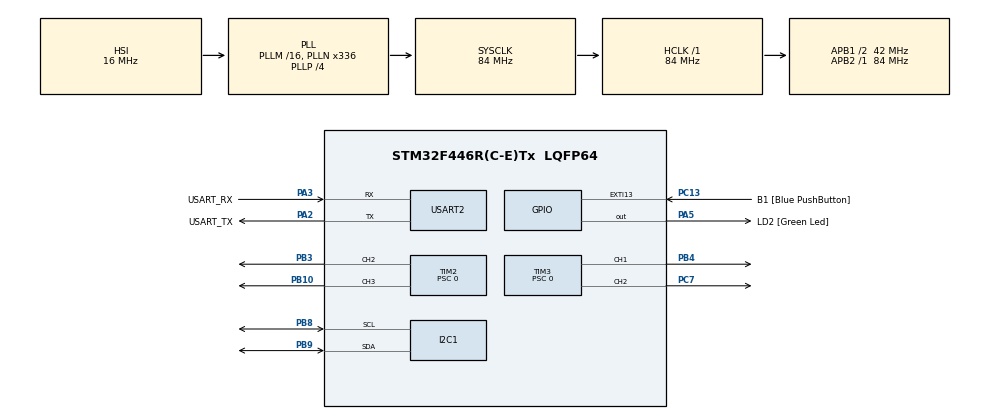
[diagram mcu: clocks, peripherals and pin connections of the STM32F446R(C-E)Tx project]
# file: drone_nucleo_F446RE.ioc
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Mcu.Family=STM32F4
Mcu.Name=STM32F446R(C-E)Tx
Mcu.Package=LQFP64
NVIC.EXTI15_10_IRQn=true\:0\:0\:false\:false\:true\:true\:true\:true
NVIC.PriorityGroup=NVIC_PRIORITYGROUP_0
PA13.GPIO_Label=TMS
PA13.Mode=Serial_Wire
PA13.Signal=SYS_JTMS-SWDIO
PA14.GPIO_Label=TCK
PA14.Mode=Serial_Wire
PA14.Signal=SYS_JTCK-SWCLK
PA2.GPIO_Label=USART_TX
PA2.Mode=Asynchronous
PA2.Signal=USART2_TX
PA3.GPIO_Label=USART_RX
PA3.Mode=Asynchronous
PA3.Signal=USART2_RX
PA5.GPIO_Label=LD2 [Green Led]
PA5.Signal=GPIO_Output
PB10.Signal=S_TIM2_CH3
PB3.Signal=S_TIM2_CH2
PB4.Signal=S_TIM3_CH1
PB8.Mode=I2C
PB8.Signal=I2C1_SCL
PB9.Mode=I2C
PB9.Signal=I2C1_SDA
PC13.GPIO_Label=B1 [Blue PushButton]
PC13.GPIO_ModeDefaultEXTI=GPIO_MODE_IT_FALLING
PC13.Signal=GPXTI13
PC14-OSC32_IN.Mode=LSE-External-Oscillator
PC14-OSC32_IN.Signal=RCC_OSC32_IN
PC15-OSC32_OUT.Mode=LSE-External-Oscillator
PC15-OSC32_OUT.Signal=RCC_OSC32_OUT
PC7.Signal=S_TIM3_CH2
PH0-OSC_IN.Mode=HSE-External-Oscillator
PH0-OSC_IN.Signal=RCC_OSC_IN
PH1-OSC_OUT.Mode=HSE-External-Oscillator
PH1-OSC_OUT.Signal=RCC_OSC_OUT
ProjectManager.HeapSize=0x200
ProjectManager.StackSize=0x400
ProjectManager.TargetToolchain=STM32CubeIDE
RCC.48MHZClocksFreq_Value=84000000
RCC.AHBFreq_Value=84000000
RCC.APB1CLKDivider=RCC_HCLK_DIV2
RCC.APB1Freq_Value=42000000
RCC.APB1TimFreq_Value=84000000
RCC.APB2Freq_Value=84000000
RCC.APB2TimFreq_Value=84000000
RCC.CortexFreq_Value=84000000
RCC.FLatency-AdvancedSettings=FLASH_LATENCY_2
RCC.HCLKFreq_Value=84000000
RCC.HSE_VALUE=8000000
RCC.HSI_VALUE=16000000
RCC.PLLN=336
RCC.PLLP=RCC_PLLP_DIV4
RCC.SYSCLKFreq_VALUE=84000000
RCC.SYSCLKSource=RCC_SYSCLKSOURCE_PLLCLK
RCC.USBFreq_Value=168000000
RCC.VCOOutputFreq_Value=336000000
SH.S_TIM2_CH2.0=TIM2_CH2,PWM Generation2 CH2
SH.S_TIM2_CH3.0=TIM2_CH3,PWM Generation3 CH3
SH.S_TIM3_CH1.0=TIM3_CH1,PWM Generation1 CH1
SH.S_TIM3_CH2.0=TIM3_CH2,PWM Generation2 CH2
TIM2.Channel-PWM\ Generation2\ CH2=TIM_CHANNEL_2
TIM2.Channel-PWM\ Generation3\ CH3=TIM_CHANNEL_3
TIM2.Period=4199
TIM2.Prescaler=0
TIM2.Pulse-PWM\ Generation2\ CH2=0
TIM3.Channel-PWM\ Generation1\ CH1=TIM_CHANNEL_1
TIM3.Channel-PWM\ Generation2\ CH2=TIM_CHANNEL_2
TIM3.Period=4199
TIM3.Prescaler=0
TIM3.Pulse-PWM\ Generation1\ CH1=0
USART2.VirtualMode=VM_ASYNC
board=NUCLEO-F446RE

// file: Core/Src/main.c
/* USER CODE BEGIN Header */
/**
 ******************************************************************************
 * @file           : main.c
 * @brief          : Main program body
 ******************************************************************************
 * @attention
 *
 * Copyright (c) 2025 STMicroelectronics.
 * All rights reserved.
 *
 * This software is licensed under terms that can be found in the LICENSE file
 * in the root directory of this software component.
 * If no LICENSE file comes with this software, it is provided AS-IS.
 *
 ******************************************************************************
 */
/* USER CODE END Header */
#include "main.h"

/* USER CODE BEGIN Includes */
#include <string.h>
#include <math.h>
#include "mpu6050.h"
#include <stdio.h>
#include "drone_control.h"

/* USER CODE END Includes */

/* USER CODE BEGIN PD */
#define MIN_PWM        1000
#define MAX_PWM        2000
#define PID_KP_PITCH   0.7f
#define PID_KI_PITCH   0.02f
#define PID_KD_PITCH   0.01f

#define PID_KP_ROLL    0.7f
#define PID_KI_ROLL    0.02f
#define PID_KD_ROLL    0.01f

#define PID_KP_YAW     0.7f
#define PID_KI_YAW     0.02f
#define PID_KD_YAW     0.01f

#define BASE_THROTTLE  1200.0f
#define MAX_I2C_RETRIES 3
#define LOW_BATT_THRESHOLD 3.5f
/* USER CODE END PD */

I2C_HandleTypeDef hi2c1;

TIM_HandleTypeDef htim2;
TIM_HandleTypeDef htim3;

UART_HandleTypeDef huart2;

/* USER CODE BEGIN PV */
volatile uint32_t PWM_D9 = 0;
volatile uint32_t PWM_D6 = 0;
volatile uint32_t PWM_D5 = 0;
volatile uint32_t PWM_D3 = 0;

volatile uint32_t PWM_D9_Target = 0;
volatile uint32_t PWM_D6_Target = 0;
volatile uint32_t PWM_D5_Target = 0;
volatile uint32_t PWM_D3_Target = 0;

MPU6050_Data_t imu_data;
MPU6050_Physical_t imu_phys;
MPU6050_Physical_t imu_filt;
MPU6050_Physical_t imu_avg;
MPU6050_Physical_t imu_bias;
MPU6050_Physical_t imu_window[IMU_WINDOW_SIZE];
MPU6050_Physical_t imu_sum;
uint8_t imu_index = 0;
uint8_t imu_count = 0;

volatile uint8_t control_enabled = 0;
volatile ControlState control_state = CONTROL_DISARMED;
volatile uint8_t button_pressed = 0;
uint32_t button_press_time = 0;
float target_pitch = 0.0f;
float target_roll  = 0.0f;
float target_yaw   = 0.0f;
float throttle_base = BASE_THROTTLE;
volatile float throttle_override = -1.0f; /* Allows throttle override via debugger */
PID_t pid_pitch = { PID_KP_PITCH, PID_KI_PITCH, PID_KD_PITCH, 0.0f, 0.0f };
PID_t pid_roll  = { PID_KP_ROLL,  PID_KI_ROLL,  PID_KD_ROLL,  0.0f, 0.0f };
PID_t pid_yaw   = { PID_KP_YAW,   PID_KI_YAW,   PID_KD_YAW,   0.0f, 0.0f };
uint32_t last_pid_time = 0;
uint8_t i2c_retry_count = 0;
uint32_t last_update = 0;

/* USER CODE END PV */

void SystemClock_Config(void);
static void MX_GPIO_Init(void);
static void MX_USART2_UART_Init(void);
static void MX_TIM2_Init(void);
static void MX_TIM3_Init(void);
static void MX_I2C1_Init(void);
/* USER CODE BEGIN PFP */

void UpdatePWM(void);
void Debug_Send(const char *msg);
void IMU_UpdateAverage(const MPU6050_Physical_t *sample);
void HAL_GPIO_EXTI_Callback(uint16_t GPIO_Pin);
void IMU_Filter(const MPU6050_Physical_t *in, MPU6050_Physical_t *out);
void CalibrateIMU(I2C_HandleTypeDef *hi2c,
		MPU6050_Physical_t *sum,
		MPU6050_Physical_t window[],
		uint8_t *idx,
		uint8_t *count);
float ReadBatteryVoltage(void);

/* USER CODE END PFP */

/* USER CODE BEGIN 0 */
/* Functions implemented in drone_control.c */
/* USER CODE END 0 */

int main(void)
{

	/* MCU Configuration--------------------------------------------------------*/

	/* Reset of all peripherals, Initializes the Flash interface and the Systick. */
	HAL_Init();

	/* Configure the system clock */
	SystemClock_Config();

	/* Initialize all configured peripherals */
	MX_GPIO_Init();
	MX_USART2_UART_Init();
	MX_TIM2_Init();
	MX_TIM3_Init();
	MX_I2C1_Init();
	/* USER CODE BEGIN 2 */

	HAL_TIM_PWM_Start(&htim2, TIM_CHANNEL_2);
	HAL_TIM_PWM_Start(&htim2, TIM_CHANNEL_3);
	HAL_TIM_PWM_Start(&htim3, TIM_CHANNEL_1);
	HAL_TIM_PWM_Start(&htim3, TIM_CHANNEL_2);
	Debug_Send("System Init Complete\r\n");
	MPU6050_Init(&hi2c1);
	Debug_Send("Calibrating IMU...\r\n");
	CalibrateIMU(&hi2c1, &imu_sum, imu_window, &imu_index, &imu_count);
	imu_bias = imu_avg;
	Debug_Send("Calibration done.\r\n");

	/* USER CODE END 2 */

	/* Infinite loop */
	/* USER CODE BEGIN WHILE */
	uint32_t lastBlink = 0;
	last_pid_time = HAL_GetTick();
	while (1)
	{
		/* USER CODE END WHILE */

		/* USER CODE BEGIN 3 */
		uint32_t now = HAL_GetTick();

		// Toggle LED every 500 ms without blocking
		if (now - lastBlink >= 500)
		{
			HAL_GPIO_TogglePin(LD2_GPIO_Port, LD2_Pin);
			lastBlink = now;
		}

		if (button_pressed && HAL_GPIO_ReadPin(B1_GPIO_Port, B1_Pin) == GPIO_PIN_SET)
		{
			uint32_t duration = now - button_press_time;
			button_pressed = 0;
			if (duration >= BUTTON_LONG_PRESS_MS)
			{
				Debug_Send("Calibration\r\n");
				pid_pitch.integral = 0.0f;
				pid_roll.integral  = 0.0f;
				pid_yaw.integral   = 0.0f;
				pid_pitch.last_err = 0.0f;
				pid_roll.last_err  = 0.0f;
				pid_yaw.last_err   = 0.0f;
				control_state = CONTROL_DISARMED;
			}
			else if (duration >= BUTTON_DEBOUNCE_MS)
			{
				if (control_state == CONTROL_ARMED)
				{
					control_state = CONTROL_DISARMED;
					Debug_Send("Disarmed\r\n");
				}
				else
				{
					control_state = CONTROL_ARMED;
					Debug_Send("Armed\r\n");
				}
			}
		}
		control_enabled = (control_state == CONTROL_ARMED);

		if (now - last_update >= 10)
		{
			last_update = now;

			if (MPU6050_ReadAll(&hi2c1, &imu_data) != HAL_OK || HAL_I2C_GetError(&hi2c1) != HAL_I2C_ERROR_NONE)
			{
				char buf[40];
				snprintf(buf, sizeof(buf), "I2C error:%lu\r\n", HAL_I2C_GetError(&hi2c1));
				Debug_Send(buf);
				PWM_D9_Target = 0;
				PWM_D6_Target = 0;
				PWM_D5_Target = 0;
				PWM_D3_Target = 0;
				UpdatePWM();
				I2C_ResetBus();
				if (++i2c_retry_count > MAX_I2C_RETRIES)
				{
					Error_Handler();
				}
				continue;
			}
			else
			{
				i2c_retry_count = 0;
			}
			MPU6050_ConvertToPhysical(&imu_data, &imu_phys);
			IMU_Filter(&imu_phys, &imu_filt);
			IMU_UpdateAverage(&imu_filt);

			float pitch = atanf(imu_avg.accel_y /
					sqrtf(imu_avg.accel_x * imu_avg.accel_x +
							imu_avg.accel_z * imu_avg.accel_z)) * 180.0f / M_PI;
			float roll  = atanf(-imu_avg.accel_x / imu_avg.accel_z) * 180.0f / M_PI;

			float dt = (now - last_pid_time) / 1000.0f;
			last_pid_time = now;
			if (dt <= 0.0f) dt = 0.001f;

			float error_pitch = target_pitch - pitch;
			float output_pitch = PID_Update(&pid_pitch, error_pitch, dt);

			float error_roll  = target_roll - roll;
			float output_roll  = PID_Update(&pid_roll, error_roll, dt);

			float error_yaw      = target_yaw - (imu_phys.gyro_z * dt);
			float output_yaw     = PID_Update(&pid_yaw, error_yaw, dt);

			float throttle = throttle_base;
			if (throttle_override >= 0.0f)
			{
				throttle = throttle_override;
			}

			float m1 = throttle + output_pitch + output_roll + output_yaw;
			float m2 = throttle + output_pitch - output_roll - output_yaw;
			float m3 = throttle - output_pitch + output_roll - output_yaw;
			float m4 = throttle - output_pitch - output_roll + output_yaw;

			if (m1 > MAX_PWM) m1 = MAX_PWM; else if (m1 < MIN_PWM) m1 = MIN_PWM;
			if (m2 > MAX_PWM) m2 = MAX_PWM; else if (m2 < MIN_PWM) m2 = MIN_PWM;
			if (m3 > MAX_PWM) m3 = MAX_PWM; else if (m3 < MIN_PWM) m3 = MIN_PWM;
			if (m4 > MAX_PWM) m4 = MAX_PWM; else if (m4 < MIN_PWM) m4 = MIN_PWM;

			if (ReadBatteryVoltage() < LOW_BATT_THRESHOLD)
			{
				control_state = CONTROL_DISARMED;
				Debug_Send("Low battery, disarming\r\n");
			}

			if(control_enabled)
			{
				PWM_D9_Target = (uint32_t)m1;
				PWM_D6_Target = (uint32_t)m2;
				PWM_D5_Target = (uint32_t)m3;
				PWM_D3_Target = (uint32_t)m4;
			}
			else
			{
				PWM_D9_Target = 0;
				PWM_D6_Target = 0;
				PWM_D5_Target = 0;
				PWM_D3_Target = 0;
			}

			UpdatePWM(); // Runs every 10 ms with control loop
		}
	}
	/* USER CODE END 3 */
}

void SystemClock_Config(void)
{
	RCC_OscInitTypeDef RCC_OscInitStruct = {0};
	RCC_ClkInitTypeDef RCC_ClkInitStruct = {0};

	/** Configure the main internal regulator output voltage
	 */
	__HAL_RCC_PWR_CLK_ENABLE();
	__HAL_PWR_VOLTAGESCALING_CONFIG(PWR_REGULATOR_VOLTAGE_SCALE3);

	/** Initializes the RCC Oscillators according to the specified parameters
	 * in the RCC_OscInitTypeDef structure.
	 */
	RCC_OscInitStruct.OscillatorType = RCC_OSCILLATORTYPE_HSI;
	RCC_OscInitStruct.HSIState = RCC_HSI_ON;
	RCC_OscInitStruct.HSICalibrationValue = RCC_HSICALIBRATION_DEFAULT;
	RCC_OscInitStruct.PLL.PLLState = RCC_PLL_ON;
	RCC_OscInitStruct.PLL.PLLSource = RCC_PLLSOURCE_HSI;
	RCC_OscInitStruct.PLL.PLLM = 16;
	RCC_OscInitStruct.PLL.PLLN = 336;
	RCC_OscInitStruct.PLL.PLLP = RCC_PLLP_DIV4;
	RCC_OscInitStruct.PLL.PLLQ = 2;
	RCC_OscInitStruct.PLL.PLLR = 2;
	if (HAL_RCC_OscConfig(&RCC_OscInitStruct) != HAL_OK)
	{
		Error_Handler();
	}

	/** Initializes the CPU, AHB and APB buses clocks
	 */
	RCC_ClkInitStruct.ClockType = RCC_CLOCKTYPE_HCLK|RCC_CLOCKTYPE_SYSCLK
			|RCC_CLOCKTYPE_PCLK1|RCC_CLOCKTYPE_PCLK2;
	RCC_ClkInitStruct.SYSCLKSource = RCC_SYSCLKSOURCE_PLLCLK;
	RCC_ClkInitStruct.AHBCLKDivider = RCC_SYSCLK_DIV1;
	RCC_ClkInitStruct.APB1CLKDivider = RCC_HCLK_DIV2;
	RCC_ClkInitStruct.APB2CLKDivider = RCC_HCLK_DIV1;

	if (HAL_RCC_ClockConfig(&RCC_ClkInitStruct, FLASH_LATENCY_2) != HAL_OK)
	{
		Error_Handler();
	}
}

static void MX_I2C1_Init(void)
{

	hi2c1.Instance = I2C1;
	hi2c1.Init.ClockSpeed = 100000;
	hi2c1.Init.DutyCycle = I2C_DUTYCYCLE_2;
	hi2c1.Init.OwnAddress1 = 0;
	hi2c1.Init.AddressingMode = I2C_ADDRESSINGMODE_7BIT;
	hi2c1.Init.DualAddressMode = I2C_DUALADDRESS_DISABLE;
	hi2c1.Init.OwnAddress2 = 0;
	hi2c1.Init.GeneralCallMode = I2C_GENERALCALL_DISABLE;
	hi2c1.Init.NoStretchMode = I2C_NOSTRETCH_DISABLE;
	if (HAL_I2C_Init(&hi2c1) != HAL_OK)
	{
		Error_Handler();
	}

}

static void MX_TIM2_Init(void)
{

	TIM_MasterConfigTypeDef sMasterConfig = {0};
	TIM_OC_InitTypeDef sConfigOC = {0};

	htim2.Instance = TIM2;
	htim2.Init.Prescaler = 0;
	htim2.Init.CounterMode = TIM_COUNTERMODE_UP;
	htim2.Init.Period = 4199;
	htim2.Init.ClockDivision = TIM_CLOCKDIVISION_DIV1;
	htim2.Init.AutoReloadPreload = TIM_AUTORELOAD_PRELOAD_DISABLE;
	if (HAL_TIM_PWM_Init(&htim2) != HAL_OK)
	{
		Error_Handler();
	}
	sMasterConfig.MasterOutputTrigger = TIM_TRGO_RESET;
	sMasterConfig.MasterSlaveMode = TIM_MASTERSLAVEMODE_DISABLE;
	if (HAL_TIMEx_MasterConfigSynchronization(&htim2, &sMasterConfig) != HAL_OK)
	{
		Error_Handler();
	}
	sConfigOC.OCMode = TIM_OCMODE_PWM1;
	sConfigOC.Pulse = 0;
	sConfigOC.OCPolarity = TIM_OCPOLARITY_HIGH;
	sConfigOC.OCFastMode = TIM_OCFAST_DISABLE;
	if (HAL_TIM_PWM_ConfigChannel(&htim2, &sConfigOC, TIM_CHANNEL_2) != HAL_OK)
	{
		Error_Handler();
	}
	if (HAL_TIM_PWM_ConfigChannel(&htim2, &sConfigOC, TIM_CHANNEL_3) != HAL_OK)
	{
		Error_Handler();
	}
	HAL_TIM_MspPostInit(&htim2);

}

static void MX_TIM3_Init(void)
{

	TIM_MasterConfigTypeDef sMasterConfig = {0};
	TIM_OC_InitTypeDef sConfigOC = {0};

	htim3.Instance = TIM3;
	htim3.Init.Prescaler = 0;
	htim3.Init.CounterMode = TIM_COUNTERMODE_UP;
	htim3.Init.Period = 4199;
	htim3.Init.ClockDivision = TIM_CLOCKDIVISION_DIV1;
	htim3.Init.AutoReloadPreload = TIM_AUTORELOAD_PRELOAD_DISABLE;
	if (HAL_TIM_PWM_Init(&htim3) != HAL_OK)
	{
		Error_Handler();
	}
	sMasterConfig.MasterOutputTrigger = TIM_TRGO_RESET;
	sMasterConfig.MasterSlaveMode = TIM_MASTERSLAVEMODE_DISABLE;
	if (HAL_TIMEx_MasterConfigSynchronization(&htim3, &sMasterConfig) != HAL_OK)
	{
		Error_Handler();
	}
	sConfigOC.OCMode = TIM_OCMODE_PWM1;
	sConfigOC.Pulse = 0;
	sConfigOC.OCPolarity = TIM_OCPOLARITY_HIGH;
	sConfigOC.OCFastMode = TIM_OCFAST_DISABLE;
	if (HAL_TIM_PWM_ConfigChannel(&htim3, &sConfigOC, TIM_CHANNEL_1) != HAL_OK)
	{
		Error_Handler();
	}
	if (HAL_TIM_PWM_ConfigChannel(&htim3, &sConfigOC, TIM_CHANNEL_2) != HAL_OK)
	{
		Error_Handler();
	}
	HAL_TIM_MspPostInit(&htim3);

}

static void MX_USART2_UART_Init(void)
{

	huart2.Instance = USART2;
	huart2.Init.BaudRate = 115200;
	huart2.Init.WordLength = UART_WORDLENGTH_8B;
	huart2.Init.StopBits = UART_STOPBITS_1;
	huart2.Init.Parity = UART_PARITY_NONE;
	huart2.Init.Mode = UART_MODE_TX_RX;
	huart2.Init.HwFlowCtl = UART_HWCONTROL_NONE;
	huart2.Init.OverSampling = UART_OVERSAMPLING_16;
	if (HAL_UART_Init(&huart2) != HAL_OK)
	{
		Error_Handler();
	}

}

static void MX_GPIO_Init(void)
{
	GPIO_InitTypeDef GPIO_InitStruct = {0};

	/* GPIO Ports Clock Enable */
	__HAL_RCC_GPIOC_CLK_ENABLE();
	__HAL_RCC_GPIOH_CLK_ENABLE();
	__HAL_RCC_GPIOA_CLK_ENABLE();
	__HAL_RCC_GPIOB_CLK_ENABLE();

	/*Configure GPIO pin Output Level */
	HAL_GPIO_WritePin(LD2_GPIO_Port, LD2_Pin, GPIO_PIN_RESET);

	/*Configure GPIO pin : B1_Pin */
	GPIO_InitStruct.Pin = B1_Pin;
	GPIO_InitStruct.Mode = GPIO_MODE_IT_FALLING;
	GPIO_InitStruct.Pull = GPIO_NOPULL;
	HAL_GPIO_Init(B1_GPIO_Port, &GPIO_InitStruct);

	/*Configure GPIO pin : LD2_Pin */
	GPIO_InitStruct.Pin = LD2_Pin;
	GPIO_InitStruct.Mode = GPIO_MODE_OUTPUT_PP;
	GPIO_InitStruct.Pull = GPIO_NOPULL;
	GPIO_InitStruct.Speed = GPIO_SPEED_FREQ_LOW;
	HAL_GPIO_Init(LD2_GPIO_Port, &GPIO_InitStruct);

	/* EXTI interrupt init*/
	HAL_NVIC_SetPriority(EXTI15_10_IRQn, 0, 0);
	HAL_NVIC_EnableIRQ(EXTI15_10_IRQn);

}

/* USER CODE BEGIN 4 */

/* IMU_UpdateAverage moved to drone_control.c */

/* SoftStartPWM moved to drone_control.c */

/* UpdatePWM moved to drone_control.c */

/* HAL_GPIO_EXTI_Callback moved to drone_control.c */

void CalibrateIMU(I2C_HandleTypeDef *hi2c,
		MPU6050_Physical_t *sum,
		MPU6050_Physical_t window[],
		uint8_t *idx,
		uint8_t *count)
{
	const int SAMPLES = 200;
	memset(sum, 0, sizeof(*sum));
	*idx = *count = 0;
	for (int i = 0; i < SAMPLES; ++i) {
		MPU6050_Data_t raw;
		MPU6050_Physical_t phys;
		while (MPU6050_ReadAll(hi2c, &raw) != HAL_OK);
		MPU6050_ConvertToPhysical(&raw, &phys);
		IMU_UpdateAverage(&phys);
		HAL_Delay(5);
	}
	/* now imu_avg holds bias; caller may store it */
}

float ReadBatteryVoltage(void)
{
	/* ADC not configured - return nominal value */
	return 12.0f;
}

/* USER CODE END 4 */

void Error_Handler(void)
{
	/* USER CODE BEGIN Error_Handler_Debug */
	/* User can add his own implementation to report the HAL error return state */
	Debug_Send("Error_Handler\r\n");
	__disable_irq();
	while (1)
	{
	}
	/* USER CODE END Error_Handler_Debug */
}
